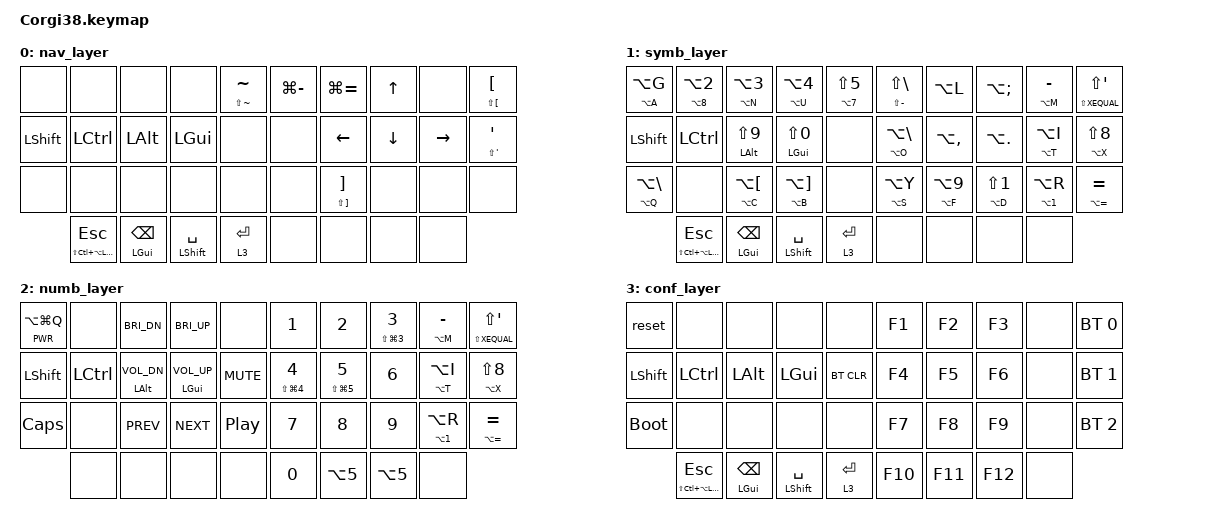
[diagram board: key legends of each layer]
/*
 * Copyright (c) 2020 The ZMK Contributors
 *
 * SPDX-License-Identifier: MIT
 */

#include <behaviors.dtsi>
#include <dt-bindings/zmk/keys.h>
#include <dt-bindings/zmk/bt.h>

#define DEFAULT 0
#define NAV     1
#define SYMB    2
#define NUMB    3
#define CONF    4

/ {

behaviors {
      hm: homerow_mods {
        compatible = "zmk,behavior-hold-tap";
        label = "HOMEROW_MODS";
        #binding-cells = <2>;
        tapping_term_ms = <300>;
        flavor = "tap-preferred";
        bindings = <&kp>, <&kp>;
    };

    combos {
    compatible = "zmk,combos";
    combo_del {
        timeout-ms = <50>;
        key-positions = <18 19>;
        bindings = <&kp DEL>;
        layers = <1>;
    };
    combo_bspc {
        timeout-ms = <50>;
        key-positions = <8 9>;
        bindings = <&kp BKSP>;
        layers = <0 1>;
    };
    combo_tab {
        timeout-ms = <50>;
        key-positions = <0 1>;
        bindings = <&kp TAB>;
        layers = <0>;

    };
    combo_esc {
        timeout-ms = <50>;
        key-positions = <1 2>;
        bindings = <&kp ESC>;
        layers = <0>;

    };
};

};
        keymap {
                compatible = "zmk,keymap";


        default_layer {
    // | SW1  | SW2  | SW3  | SW4  | SW5  |         | SW6  | SW7  | SW8  | SW9  | SW10 |
    // | SW11 | SW12 | SW13 | SW14 | SW15 |         | SW16 | SW17 | SW18 | SW19 | SW20 |
    // | SW21 | SW22 | SW23 | SW24 | SW25 |         | SW26 | SW27 | SW28 | SW29 | SW30 |
    //        | SW31 | SW32 | SW33 | SW34 |         | SW35 | SW36 | SW37 | SW38 |
                        
                        
        indings = <
    &kp Q            &kp W                       &kp E           &kp R               &kp T                   &kp Y               &kp U           &kp I           &kp O               &kp P
    &hm LSHFT A      &hm LCTRL S                 &hm LALT D      &hm LGUI F          &kp G                   &kp H               &hm LGUI J      &hm LALT K      &hm LCTRL L         &hm LSHFT SEMI
    &kp Z            &kp X                       &kp C           &kp V               &kp B                   &kp N               &kp M           &kp COMMA       &kp DOT             &kp FSLH
                     &mt LS(LC(LA(LCMD))) ESC    &mt LGUI BSPC   &mt LSHIFT SPACE    &lt 3 ENTER             &lt 1 LGUI(SPACE)   &lt 2 LA(N5)    &kp LA(N6)      &lt 4 TAB
                
                
                >;
                     };

                
        nav_layer {
    // | SW1  | SW2  | SW3  | SW4  | SW5  |         | SW6  | SW7  | SW8  | SW9  | SW10 |
    // | SW11 | SW12 | SW13 | SW14 | SW15 |         | SW16 | SW17 | SW18 | SW19 | SW20 |
    // | SW21 | SW22 | SW23 | SW24 | SW25 |         | SW26 | SW27 | SW28 | SW29 | SW30 |
    //        | SW31 | SW32 | SW33 | SW34 |         | SW35 | SW36 | SW37 | SW38 |
                        
        
        bindings = <
    &none            &none                       &none           &none               &mt LS(TILDE) TILDE        &kp LG(MINUS)      &kp LG(EQUAL)        &kp UP          &none            &mt LS(LBKT) LBKT
    &kp LSHFT        &kp LCTRL                   &kp LALT        &kp LGUI            &none                      &none              &kp LEFT             &kp DOWN        &kp RIGHT        &mt LS(APOS) APOS
    &none            &none                       &none           &none               &none                      &none              &mt LS(RBKT) RBKT    &none           &none            &none 
                     &mt LS(LC(LA(LCMD))) ESC    &mt LGUI BSPC   &mt LSHIFT SPACE    &lt 3 ENTER                &none              &none                &none           &none
                        
                        
                >;
                     };
        
        symb_layer {
    // | SW1  | SW2  | SW3  | SW4  | SW5  |         | SW6  | SW7  | SW8  | SW9  | SW10 |
    // | SW11 | SW12 | SW13 | SW14 | SW15 |         | SW16 | SW17 | SW18 | SW19 | SW20 |
    // | SW21 | SW22 | SW23 | SW24 | SW25 |         | SW26 | SW27 | SW28 | SW29 | SW30 |
    //        | SW31 | SW32 | SW33 | SW34 |         | SW35 | SW36 | SW37 | SW38 |
        
        
        bindings = <
    &mt LA(A) LA(G)         &mt LA(N8) LA(N2)           &mt LA(N) LA(N3)           &mt LA(U) LA(N4)         &mt LA(N7) LS(N5)                   &mt LS(MINUS) LS(BSLH)               &kp LA(L)                  &kp LA(SEMI)                &mt LA(M) MINUS                      &mt LS(XEQUAL) LS(APOS)
    &kp LSHFT               &kp LCTRL                   &hm LALT LS(N9)            &hm LGUI LS(N0)          &none                               &mt LA(O) LA(BSLH)                   &kp LA(COMMA)              &kp LA(DOT)                 &mt LA(T) LA(I)                      &mt LA(X) LS(N8)
    &mt LA(Q) LA(BSLH)      &none                       &mt LA(C) LA(LBKT)         &mt LA(B) LA(RBKT)       &none                               &mt LA(S) LA(Y)                      &mt LA(F) LA(N9)           &mt LA(D) LS(N1)            &mt LA(N1) LA(R)                     &mt LA(EQUAL) EQUAL
                            &mt LS(LC(LA(LCMD))) ESC    &mt LGUI BSPC              &mt LSHIFT SPACE         &lt 3 ENTER                         &none                                &none                      &none                       &none                               


                        >;
                };




        numb_layer {
    // | SW1  | SW2  | SW3  | SW4  | SW5  |         | SW6  | SW7  | SW8  | SW9  | SW10 |
    // | SW11 | SW12 | SW13 | SW14 | SW15 |         | SW16 | SW17 | SW18 | SW19 | SW20 |
    // | SW21 | SW22 | SW23 | SW24 | SW25 |         | SW26 | SW27 | SW28 | SW29 | SW30 |
    //        | SW31 | SW32 | SW33 | SW34 |         | SW35 | SW36 | SW37 | SW38 |
        
        
        bindings = <
    &mt C_PWR LA(LG(Q))       &none                &kp C_BRI_DN               &kp C_BRI_UP          &none                            &kp N1             &kp N2             &mt LS(LG(3)) N3       &mt LA(M) MINUS       &mt LS(XEQUAL) LS(APOS)
    &kp LSHFT                 &kp LCTRL            &hm LALT C_VOL_DN          &hm LGUI C_VOL_UP     &kp K_MUTE                       &mt LS(LG(4)) N4   &mt LS(LG(5)) N5   &kp N6                 &mt LA(T) LA(I)       &mt LA(X) LS(N8)
    &kp CAPS                  &none                &kp C_PREV                 &kp C_NEXT            &kp C_PP                         &kp N7             &kp N8             &kp N9                 &mt LA(N1) LA(R)      &mt LA(EQUAL) EQUAL
                              &none                &none                      &none                 &none                            &kp N0             &kp LA(N5)         &kp LA(N5)             &none                               


                        >;
                };



        conf_layer {
    // | SW1  | SW2  | SW3  | SW4  | SW5  |         | SW6  | SW7  | SW8  | SW9  | SW10 |
    // | SW11 | SW12 | SW13 | SW14 | SW15 |         | SW16 | SW17 | SW18 | SW19 | SW20 |
    // | SW21 | SW22 | SW23 | SW24 | SW25 |         | SW26 | SW27 | SW28 | SW29 | SW30 |
    //        | SW31 | SW32 | SW33 | SW34 |         | SW35 | SW36 | SW37 | SW38 |
        
        
        bindings = <
    &reset           &none                       &none               &none                 &none                        &kp F1          &kp F2           &kp F3            &none           &bt BT_SEL 0
    &kp LSHFT        &kp LCTRL                   &kp LALT            &kp LGUI              &bt BT_CLR                   &kp F4          &kp F5           &kp F6            &none           &bt BT_SEL 1
    &bootloader      &none                       &none               &none                 &none                        &kp F7          &kp F8           &kp F9            &none           &bt BT_SEL 2
                     &mt LS(LC(LA(LCMD))) ESC    &mt LGUI BSPC       &mt LSHIFT SPACE      &lt 3 ENTER                  &kp F10         &kp F11          &kp F12           &none                               



                        >;
                };


        }; 
};

